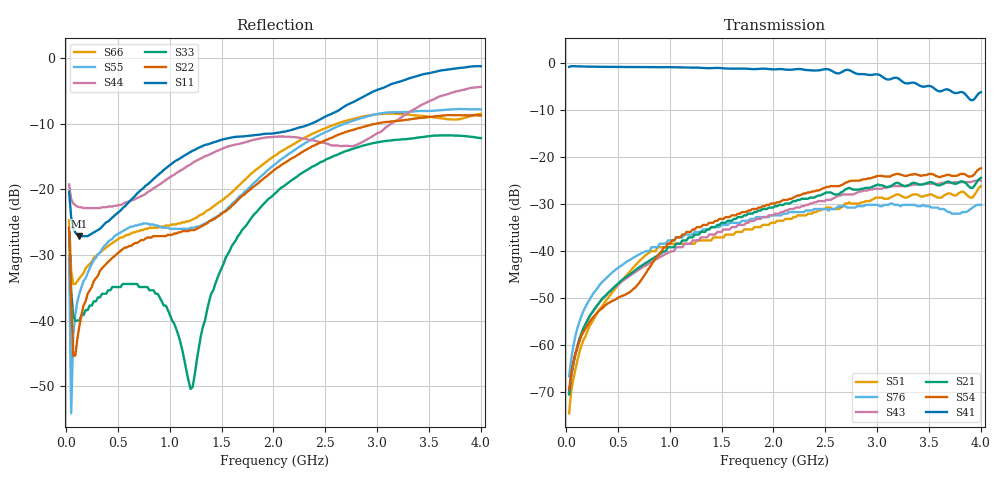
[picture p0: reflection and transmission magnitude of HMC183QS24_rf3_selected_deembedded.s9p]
!Hittite Microwave Corporation
!12 Elizabeth Drive
!Chelmsford, MA 01824
!Tel: 978-250-3343
!Fax: 978-250-3373
!Device: HMC183QS24, DC-2 GHz GaAS MMIC SP8T Non-Reflective Switch in 24-lead QSOP package
!Misc: Port 1 = RFCom, Port 2 = RF1, Port 3 = RF2, Port 4 = RF3, Port 5 = RF4, Port 6 = RF5, Port 7 = RF6, Port 8 = RF7, Port 9 = RF8, RF3 selected, Vctl=0/-5V
# MHZ S MA R 50
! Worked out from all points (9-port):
!   201 points, 30 MHz to 4 GHz, reference 50 ohm
!   strongest paths, dB at 30 MHz, 1.022 GHz, 2.015 GHz, 3.007 GHz, 4 GHz:
!     S41: -0.9, -1.0, -1.4, -2.5, -6.2
!     S54: -69.3, -37.7, -29.9, -24.0, -22.4
!     S21: -70.4, -39.2, -30.5, -25.8, -24.4
!     S43: -70.1, -40.0, -32.0, -26.7, -25.0
!     S76: -66.6, -37.7, -32.4, -30.2, -30.2
!     S51: -74.4, -38.4, -34.0, -28.6, -26.2
!   lowest |S11| = -27.1 dB at 129.2 MHz (marker M1), VSWR 1.09, Z = 53.9 - j2.45 ohm
!   |S11| at or under -10 dB: start of sweep to 2.361 GHz
